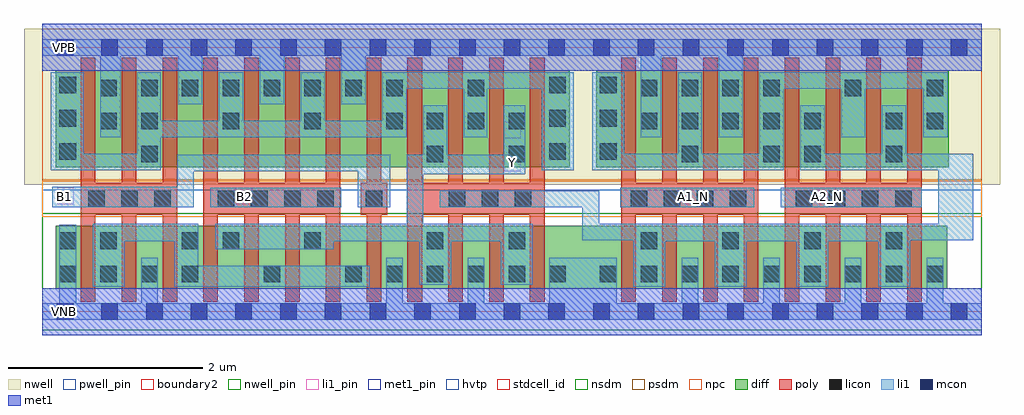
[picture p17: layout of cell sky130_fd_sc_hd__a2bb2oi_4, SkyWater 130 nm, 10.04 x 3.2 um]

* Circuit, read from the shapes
.subckt sky130_fd_sc_hd__a2bb2oi_4 A1_N A2_N B1 B2 VGND VNB VPB VPWR Y
XM1 n1 B1 VGND VNB sky130_fd_pr__nfet_01v8 w=0.65 l=0.15 m=4
XM2 Y B2 n1 VNB sky130_fd_pr__nfet_01v8 w=0.65 l=0.15 m=4
XM3 Y n2 VGND VNB sky130_fd_pr__nfet_01v8 w=0.65 l=0.15 m=4
XM4 n2 A1_N VGND VNB sky130_fd_pr__nfet_01v8 w=0.65 l=0.15 m=4
XM5 n2 A2_N VGND VNB sky130_fd_pr__nfet_01v8 w=0.65 l=0.15 m=4
XM6 VPWR B1 n3 VPB sky130_fd_pr__pfet_01v8_hvt w=1 l=0.15 m=4
XM7 n3 B2 VPWR VPB sky130_fd_pr__pfet_01v8_hvt w=1 l=0.15 m=4
XM8 Y n2 n3 VPB sky130_fd_pr__pfet_01v8_hvt w=1 l=0.15 m=4
XM9 VPWR A1_N n4 VPB sky130_fd_pr__pfet_01v8_hvt w=1 l=0.15 m=4
XM10 n2 A2_N n4 VPB sky130_fd_pr__pfet_01v8_hvt w=1 l=0.15 m=4
.ends

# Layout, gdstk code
import gdstk
lib = gdstk.Library(unit=1e-6, precision=1e-09)
def R(c, l, rs):  # rectangles x0, y0, x1, y1
    for r in rs: c.add(gdstk.rectangle(r[:2], r[2:], *l))
def A(c, l, x, y, w, h, nx, ny, dx, dy):  # array of equal rectangles
    R(c, l, [(x+i*dx, y+j*dy, x+i*dx+w, y+j*dy+h) for i in range(nx) for j in range(ny)])
def P(c, l, *ps):  # polygons
    for p in ps: c.add(gdstk.Polygon(p, *l))
nwell_pin = (64, 16)
nwell = (64, 20)
diff = (65, 20)
poly = (66, 20)
licon = (66, 44)
li1_pin = (67, 16)
li1 = (67, 20)
mcon = (67, 44)
met1_pin = (68, 16)
met1 = (68, 20)
hvtp = (78, 44)
stdcell_id = (81, 4)
nsdm = (93, 44)
psdm = (94, 20)
npc = (95, 20)
pwell_pin = (122, 16)
boundary2 = (236, 0)

sky130_fd_sc_hd__a2bb2oi = lib.new_cell('sky130_fd_sc_hd__a2bb2oi_4')
R(sky130_fd_sc_hd__a2bb2oi, nwell_pin, [(0.15,2.635,0.32,2.805)])
R(sky130_fd_sc_hd__a2bb2oi, nwell, [(-0.19,1.305,9.85,2.91)])
R(sky130_fd_sc_hd__a2bb2oi, diff, [(0.135,0.235,9.305,0.885), (0.135,1.485,5.425,2.485), (5.695,1.485,9.325,2.485)])
P(sky130_fd_sc_hd__a2bb2oi, poly, [(1.655,0.105),(1.655,2.615),(1.805,2.615),(1.805,1.325),(2.075,1.325),(2.075,2.615),(2.225,2.615),(2.225,1.325),(2.495,1.325),(2.495,2.615),(2.645,2.615),(2.645,1.325),(2.915,1.325),(2.915,2.615),(3.065,2.615),(3.065,0.105),(2.915,0.105),(2.915,0.995),(2.645,0.995),(2.645,0.105),(2.495,0.105),(2.495,0.995),(2.225,0.995),(2.225,0.105),(2.075,0.105),(2.075,0.995),(1.805,0.995),(1.805,0.105)],
  [(0.395,0.105),(0.395,2.615),(0.545,2.615),(0.545,1.325),(0.815,1.325),(0.815,2.615),(0.965,2.615),(0.965,1.325),(1.235,1.325),(1.235,2.615),(1.385,2.615),(1.385,0.105),(1.235,0.105),(1.235,0.995),(0.965,0.995),(0.965,0.105),(0.815,0.105),(0.815,0.995),(0.545,0.995),(0.545,0.105)],
  [(3.335,0.105),(3.335,0.995),(3.275,0.995),(3.275,1.325),(3.335,1.325),(3.335,2.615),(3.485,2.615),(3.485,1.325),(3.545,1.325),(3.545,0.995),(3.485,0.995),(3.485,0.105)],
  [(3.755,0.105),(3.755,2.615),(3.905,2.615),(3.905,1.325),(4.175,1.325),(4.175,2.615),(4.325,2.615),(4.325,1.325),(4.595,1.325),(4.595,2.615),(4.745,2.615),(4.745,1.325),(5.015,1.325),(5.015,2.615),(5.165,2.615),(5.165,0.105),(5.015,0.105),(5.015,0.995),(4.745,0.995),(4.745,0.105),(4.595,0.105),(4.595,0.995),(4.325,0.995),(4.325,0.105),(4.175,0.105),(4.175,0.995),(3.905,0.995),(3.905,0.105)],
  [(5.955,0.105),(5.955,2.615),(6.105,2.615),(6.105,1.325),(6.375,1.325),(6.375,2.615),(6.525,2.615),(6.525,1.325),(6.795,1.325),(6.795,2.615),(6.945,2.615),(6.945,1.325),(7.215,1.325),(7.215,2.615),(7.365,2.615),(7.365,0.105),(7.215,0.105),(7.215,0.995),(6.945,0.995),(6.945,0.105),(6.795,0.105),(6.795,0.995),(6.525,0.995),(6.525,0.105),(6.375,0.105),(6.375,0.995),(6.105,0.995),(6.105,0.105)],
  [(7.635,0.105),(7.635,2.615),(7.785,2.615),(7.785,1.325),(8.055,1.325),(8.055,2.615),(8.205,2.615),(8.205,1.325),(8.475,1.325),(8.475,2.615),(8.625,2.615),(8.625,1.325),(8.895,1.325),(8.895,2.615),(9.045,2.615),(9.045,0.105),(8.895,0.105),(8.895,0.995),(8.625,0.995),(8.625,0.105),(8.475,0.105),(8.475,0.995),(8.205,0.995),(8.205,0.105),(8.055,0.105),(8.055,0.995),(7.785,0.995),(7.785,0.105)])
A(sky130_fd_sc_hd__a2bb2oi, licon, 0.175, 0.305, 0.17, 0.17, 4, 1, 0.42, 0)
A(sky130_fd_sc_hd__a2bb2oi, licon, 3.115, 0.305, 0.17, 0.17, 6, 1, 0.42, 0)
A(sky130_fd_sc_hd__a2bb2oi, licon, 5.735, 0.305, 0.17, 0.17, 9, 1, 0.42, 0)
A(sky130_fd_sc_hd__a2bb2oi, licon, 6.155, 0.645, 0.17, 0.17, 4, 1, 0.84, 0)
A(sky130_fd_sc_hd__a2bb2oi, licon, 0.47, 1.075, 0.17, 0.17, 3, 1, 0.34, 0)
A(sky130_fd_sc_hd__a2bb2oi, licon, 1.805, 1.075, 0.17, 0.17, 4, 1, 0.34, 0)
A(sky130_fd_sc_hd__a2bb2oi, licon, 4.18, 1.075, 0.17, 0.17, 3, 1, 0.34, 0)
A(sky130_fd_sc_hd__a2bb2oi, licon, 6.05, 1.075, 0.17, 0.17, 4, 1, 0.34, 0)
A(sky130_fd_sc_hd__a2bb2oi, licon, 7.75, 1.075, 0.17, 0.17, 4, 1, 0.34, 0)
A(sky130_fd_sc_hd__a2bb2oi, licon, 0.175, 1.565, 0.17, 0.17, 1, 3, 0, 0.34)
A(sky130_fd_sc_hd__a2bb2oi, licon, 5.215, 1.565, 0.17, 0.17, 1, 3, 0, 0.34)
A(sky130_fd_sc_hd__a2bb2oi, licon, 5.735, 1.565, 0.17, 0.17, 1, 3, 0, 0.34)
A(sky130_fd_sc_hd__a2bb2oi, licon, 1.015, 1.875, 0.17, 0.17, 4, 1, 0.84, 0)
A(sky130_fd_sc_hd__a2bb2oi, licon, 3.955, 1.875, 0.17, 0.17, 3, 1, 0.42, 0)
A(sky130_fd_sc_hd__a2bb2oi, licon, 6.155, 1.875, 0.17, 0.17, 5, 1, 0.42, 0)
A(sky130_fd_sc_hd__a2bb2oi, licon, 0.595, 2.215, 0.17, 0.17, 8, 1, 0.42, 0)
A(sky130_fd_sc_hd__a2bb2oi, licon, 6.155, 2.215, 0.17, 0.17, 4, 1, 0.42, 0)
R(sky130_fd_sc_hd__a2bb2oi, licon, [(2.275,0.305,2.445,0.475), (0.175,0.645,0.345,0.815), (0.595,0.645,0.765,0.815), (1.435,0.645,1.605,0.815), (1.855,0.645,2.025,0.815), (2.695,0.645,2.865,0.815), (3.955,0.645,4.125,0.815), (4.795,0.645,4.965,0.815), (3.325,1.075,3.495,1.245), (1.015,1.535,1.185,1.705), (3.955,1.535,4.125,1.705), (4.795,1.535,4.965,1.705), (6.575,1.535,6.745,1.705), (7.415,1.535,7.585,1.705), (7.835,1.535,8.005,1.705), (8.675,1.535,8.845,1.705), (0.595,1.875,0.765,2.045), (8.675,1.875,8.845,2.045), (9.095,1.875,9.265,2.045), (4.375,2.215,4.545,2.385), (8.255,2.215,8.425,2.385), (9.095,2.215,9.265,2.385)])
R(sky130_fd_sc_hd__a2bb2oi, li1_pin, [(0.15,1.105,0.32,1.275), (1.99,1.105,2.16,1.275), (6.61,1.105,6.78,1.275), (7.99,1.105,8.16,1.275), (4.75,1.445,4.92,1.615), (4.75,1.785,4.92,1.955)])
R(sky130_fd_sc_hd__a2bb2oi, li1, [(1.725,1.075,3.075,1.275), (5.945,1.075,7.32,1.275), (7.595,1.075,9.045,1.275)])
P(sky130_fd_sc_hd__a2bb2oi, li1, [(0.515,0.255),(0.515,0.905),(1.605,0.905),(1.605,0.475),(3.365,0.475),(3.365,0.255),(1.355,0.255),(1.355,0.725),(0.845,0.725),(0.845,0.255)],
  [(0,-0.085),(0,0.085),(0.175,0.085),(0.175,0.895),(0.345,0.895),(0.345,0.085),(1.015,0.085),(1.015,0.555),(1.185,0.555),(1.185,0.085),(3.535,0.085),(3.535,0.555),(3.705,0.555),(3.705,0.085),(4.375,0.085),(4.375,0.555),(4.545,0.555),(4.545,0.085),(5.215,0.085),(5.215,0.555),(5.905,0.555),(5.905,0.085),(6.575,0.085),(6.575,0.555),(6.745,0.555),(6.745,0.085),(7.415,0.085),(7.415,0.555),(7.585,0.555),(7.585,0.085),(8.255,0.085),(8.255,0.555),(8.425,0.555),(8.425,0.085),(9.095,0.085),(9.095,0.555),(9.265,0.555),(9.265,0.085),(9.66,0.085),(9.66,-0.085)],
  [(0.595,1.795),(0.595,2.635),(0,2.635),(0,2.805),(9.66,2.805),(9.66,2.635),(7.205,2.635),(7.205,1.795),(6.955,1.795),(6.955,2.635),(6.365,2.635),(6.365,1.795),(6.155,1.795),(6.155,2.635),(3.325,2.635),(3.325,2.135),(3.075,2.135),(3.075,2.635),(2.485,2.635),(2.485,2.135),(2.235,2.135),(2.235,2.635),(1.645,2.635),(1.645,2.135),(1.395,2.135),(1.395,2.635),(0.805,2.635),(0.805,1.795)],
  [(0.1,1.075),(0.1,1.285),(1.385,1.285),(1.385,1.615),(3.575,1.615),(3.575,1.075),(3.245,1.075),(3.245,1.445),(1.555,1.445),(1.555,1.075)],
  [(3.875,0.275),(3.875,0.725),(2.995,0.725),(2.995,0.645),(1.775,0.645),(1.775,0.905),(3.745,0.905),(3.745,1.615),(3.915,1.615),(3.915,2.125),(4.165,2.125),(4.165,1.615),(4.745,1.615),(4.745,2.125),(4.965,2.125),(4.965,1.415),(3.915,1.415),(3.915,0.905),(5.045,0.905),(5.045,0.275),(4.715,0.275),(4.715,0.725),(4.205,0.725),(4.205,0.275)],
  [(0.085,1.455),(0.085,2.465),(0.425,2.465),(0.425,1.625),(0.975,1.625),(0.975,2.465),(1.215,2.465),(1.215,1.965),(1.815,1.965),(1.815,2.465),(2.065,2.465),(2.065,1.965),(2.655,1.965),(2.655,2.465),(2.905,2.465),(2.905,1.965),(3.495,1.965),(3.495,2.465),(5.465,2.465),(5.465,1.455),(5.135,1.455),(5.135,2.295),(4.575,2.295),(4.575,1.795),(4.335,1.795),(4.335,2.295),(3.745,2.295),(3.745,1.795),(1.215,1.795),(1.215,1.455)],
  [(5.655,1.455),(5.655,2.465),(5.985,2.465),(5.985,1.625),(6.54,1.625),(6.54,2.465),(6.78,2.465),(6.78,1.625),(7.375,1.625),(7.375,2.465),(9.31,2.465),(9.31,1.795),(9.06,1.795),(9.06,2.295),(8.465,2.295),(8.465,1.795),(8.215,1.795),(8.215,2.295),(7.625,2.295),(7.625,1.455)],
  [(6.075,0.255),(6.075,0.735),(5.555,0.735),(5.555,1.075),(4.085,1.075),(4.085,1.245),(5.725,1.245),(5.725,0.905),(9.215,0.905),(9.215,1.455),(7.795,1.455),(7.795,2.125),(8.045,2.125),(8.045,1.625),(8.635,1.625),(8.635,2.125),(8.885,2.125),(8.885,1.625),(9.575,1.625),(9.575,0.735),(8.925,0.735),(8.925,0.255),(8.595,0.255),(8.595,0.725),(8.085,0.725),(8.085,0.255),(7.755,0.255),(7.755,0.725),(7.245,0.725),(7.245,0.255),(6.915,0.255),(6.915,0.725),(6.405,0.725),(6.405,0.255)])
A(sky130_fd_sc_hd__a2bb2oi, mcon, 0.145, -0.085, 0.17, 0.17, 21, 2, 0.46, 2.72)
R(sky130_fd_sc_hd__a2bb2oi, met1_pin, [(0.15,-0.085,0.32,0.085), (0.15,2.635,0.32,2.805)])
R(sky130_fd_sc_hd__a2bb2oi, hvtp, [(0,1.25,9.66,2.72)])
R(sky130_fd_sc_hd__a2bb2oi, stdcell_id, [(0,0,9.66,2.72)])
R(sky130_fd_sc_hd__a2bb2oi, nsdm, [(0,-0.19,9.66,1.015)])
R(sky130_fd_sc_hd__a2bb2oi, psdm, [(0,1.355,9.66,2.91)])
R(sky130_fd_sc_hd__a2bb2oi, npc, [(0,0.975,9.66,1.345)])
R(sky130_fd_sc_hd__a2bb2oi, pwell_pin, [(0.15,-0.085,0.32,0.085)])
R(sky130_fd_sc_hd__a2bb2oi, boundary2, [(0,0,9.66,2.72)])
sky130_fd_sc_hd__a2bb2oi.add(gdstk.FlexPath([(0,2.72),(9.66,2.72)], 0.48, ends="flush", simple_path=True, layer=68, datatype=20))  # met1
sky130_fd_sc_hd__a2bb2oi.add(gdstk.FlexPath([(0,0),(9.66,0)], 0.48, ends="flush", simple_path=True, layer=68, datatype=20))  # met1
sky130_fd_sc_hd__a2bb2oi.add(gdstk.Label('Y', (4.835,1.53), layer=67, texttype=5))
sky130_fd_sc_hd__a2bb2oi.add(gdstk.Label('A2_N', (8.075,1.19), layer=67, texttype=5))
sky130_fd_sc_hd__a2bb2oi.add(gdstk.Label('B2', (2.075,1.19), layer=67, texttype=5))
sky130_fd_sc_hd__a2bb2oi.add(gdstk.Label('A1_N', (6.695,1.19), layer=67, texttype=5))
sky130_fd_sc_hd__a2bb2oi.add(gdstk.Label('B1', (0.23,1.19), layer=67, texttype=5))
sky130_fd_sc_hd__a2bb2oi.add(gdstk.Label('VNB', (0.23,0), layer=64, texttype=59))
sky130_fd_sc_hd__a2bb2oi.add(gdstk.Label('VPB', (0.23,2.72), layer=64, texttype=5))
sky130_fd_sc_hd__a2bb2oi.add(gdstk.Label('VGND', (0.23,0), layer=68, texttype=5))
sky130_fd_sc_hd__a2bb2oi.add(gdstk.Label('VPWR', (0.23,2.72), layer=68, texttype=5))
sky130_fd_sc_hd__a2bb2oi.add(gdstk.Label('a2bb2oi_4', (0,0), layer=83, texttype=44))

lib.write_gds('sky130_fd_sc_hd__a2bb2oi_4.gds')
